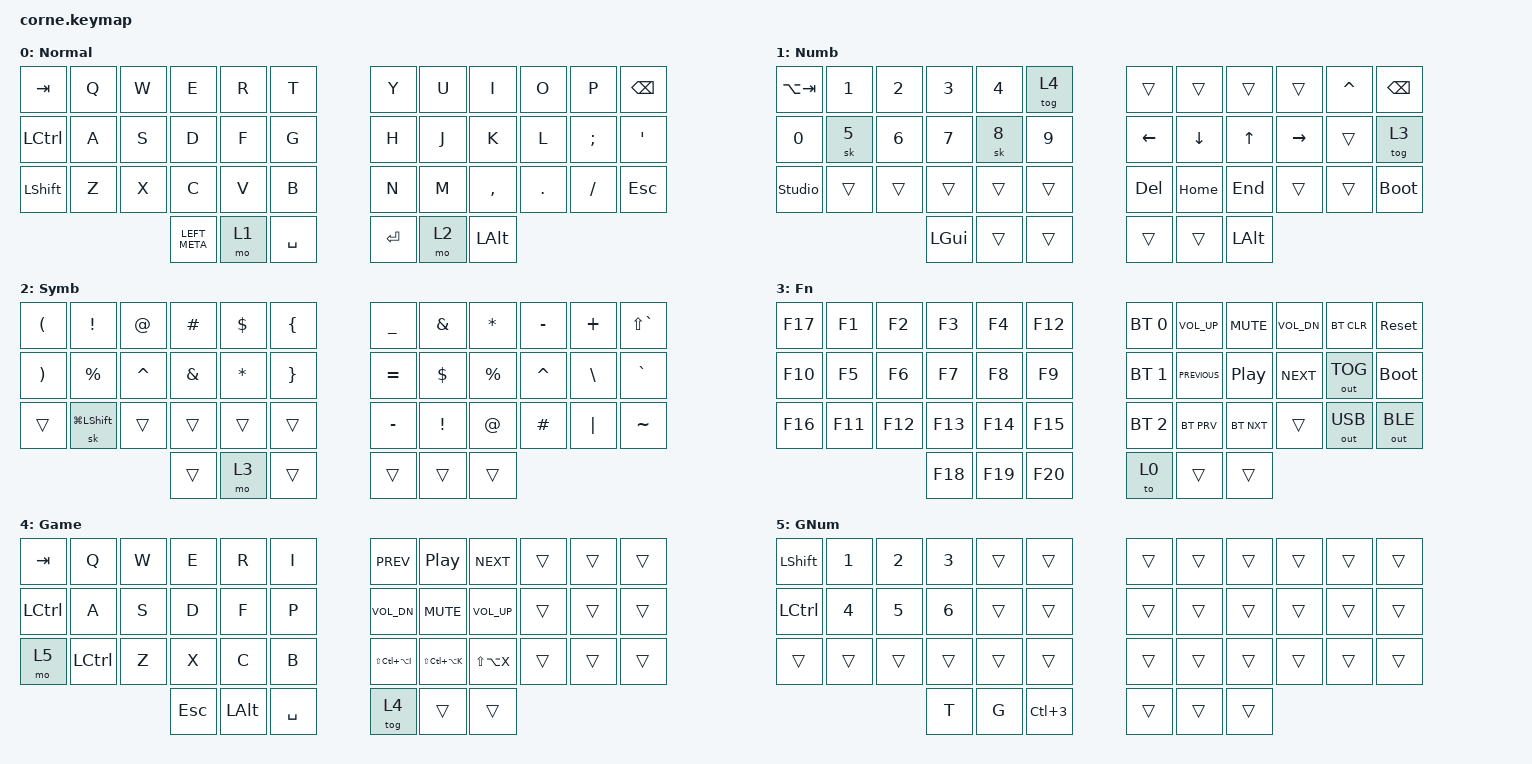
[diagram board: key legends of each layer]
/*
 * Copyright (c) 2020 The ZMK Contributors
 *
 * SPDX-License-Identifier: MIT
 */

#include <behaviors.dtsi>
#include <dt-bindings/zmk/bt.h>
#include <dt-bindings/zmk/keys.h>
#include <dt-bindings/zmk/outputs.h>

/ {
    combos {
        compatible = "zmk,combos";

        semcol {
            bindings = <&kp SEMI>;
            key-positions = <32 33>;
            timeout-ms = <50>;
            layers = <0>;
            require-prior-idle-ms = <150>;
        };

        cpslck {
            bindings = <&kp CAPSLOCK>;
            key-positions = <24 35>;
            layers = <0>;
            require-prior-idle-ms = <150>;
        };

        parentheses_left {
            bindings = <&kp LEFT_PARENTHESIS>;
            key-positions = <16 15>;
            layers = <0>;
            require-prior-idle-ms = <150>;
        };

        parentheses_right {
            bindings = <&kp RIGHT_PARENTHESIS>;
            key-positions = <19 20>;
            layers = <0>;
            require-prior-idle-ms = <150>;
        };

        bracket_left {
            bindings = <&kp LEFT_BRACKET>;
            key-positions = <3 4>;
            layers = <0>;
            require-prior-idle-ms = <150>;
        };

        bracket_right {
            bindings = <&kp RIGHT_BRACKET>;
            key-positions = <8 7>;
            layers = <0>;
            require-prior-idle-ms = <150>;
        };

        colon {
            bindings = <&kp COLON>;
            key-positions = <20 21>;
            layers = <0>;
            require-prior-idle-ms = <150>;
        };

        grave {
            bindings = <&kp GRAVE>;
            key-positions = <15 14>;
            layers = <0>;
            require-prior-idle-ms = <150>;
        };

        brace_left {
            bindings = <&kp LEFT_BRACE>;
            key-positions = <27 28>;
            layers = <0>;
            require-prior-idle-ms = <150>;
        };

        brace_right {
            bindings = <&kp RIGHT_BRACE>;
            key-positions = <31 32>;
            layers = <0>;
            require-prior-idle-ms = <150>;
        };

        less_than {
            bindings = <&kp LESS_THAN>;
            key-positions = <2 3>;
            layers = <0>;
            require-prior-idle-ms = <150>;
        };

        bigger_than {
            bindings = <&kp GREATER_THAN>;
            key-positions = <8 9>;
            layers = <0>;
            require-prior-idle-ms = <150>;
        };

        hyphen {
            bindings = <&kp MINUS>;
            key-positions = <28 31>;
            layers = <0>;
            require-prior-idle-ms = <150>;
        };

        plus {
            bindings = <&kp PLUS>;
            key-positions = <4 7>;
            layers = <0>;
            require-prior-idle-ms = <150>;
        };

        equal {
            bindings = <&kp EQUAL>;
            key-positions = <16 19>;
            layers = <0>;
            require-prior-idle-ms = <150>;
        };

        pipe {
            bindings = <&kp PIPE>;
            key-positions = <27 26>;
            layers = <0>;
            require-prior-idle-ms = <150>;
        };

        astrsk {
            bindings = <&kp ASTERISK>;
            key-positions = <3 8>;
            layers = <0>;
            require-prior-idle-ms = <150>;
        };

        dollar {
            bindings = <&kp DOLLAR>;
            key-positions = <15 20>;
            layers = <0>;
            require-prior-idle-ms = <150>;
        };

        excl {
            bindings = <&kp EXCL>;
            key-positions = <27 32>;
            layers = <0>;
            require-prior-idle-ms = <150>;
        };

        ampersand {
            bindings = <&kp AMPERSAND>;
            key-positions = <17 18>;
            layers = <0>;
            require-prior-idle-ms = <150>;
        };

        underscore {
            bindings = <&kp UNDERSCORE>;
            key-positions = <29 30>;
            layers = <0>;
            require-prior-idle-ms = <150>;
        };

        backslash {
            bindings = <&kp BACKSLASH>;
            key-positions = <21 22>;
            layers = <0>;
            require-prior-idle-ms = <150>;
        };

        tilde {
            bindings = <&kp TILDE>;
            key-positions = <18 19>;
            layers = <0>;
            require-prior-idle-ms = <150>;
        };

        caret {
            bindings = <&kp CARET>;
            key-positions = <6 7>;
            layers = <0>;
            require-prior-idle-ms = <150>;
        };

        dash {
            bindings = <&kp MINUS>;
            key-positions = <30 31>;
            layers = <0>;
            require-prior-idle-ms = <150>;
        };

        question_mark {
            bindings = <&kp QUESTION>;
            key-positions = <21 22>;
            layers = <0>;
            require-prior-idle-ms = <150>;
        };
    };

    behaviors {
        hml: hml {
            compatible = "zmk,behavior-hold-tap";
            label = "HML";
            bindings = <&kp>, <&kp>;

            #binding-cells = <2>;
            tapping-term-ms = <280>;
            quick-tap-ms = <175>;
            flavor = "balanced";
            hold-trigger-on-release;
            hold-trigger-key-positions = <6 7 8 9 10 11 18 19 20 21 22 23 30 31 32 33 34 35 38 39 40 41 37 36>;
            require-prior-idle-ms = <150>;
        };

        hmr: hmr {
            compatible = "zmk,behavior-hold-tap";
            label = "HMR";
            bindings = <&kp>, <&kp>;

            #binding-cells = <2>;
            tapping-term-ms = <280>;
            quick-tap-ms = <175>;
            hold-trigger-on-release;
            hold-trigger-key-positions = <0 1 2 3 4 5 12 13 14 15 16 17 24 25 26 27 28 29 36 37 38 39 40 41>;
            flavor = "balanced";
            require-prior-idle-ms = <150>;
        };

        lrt: lrt {
            compatible = "zmk,behavior-hold-tap";
            label = "LRT";
            bindings = <&mo>, <&kp>;

            #binding-cells = <2>;
            tapping-term-ms = <150>;
            flavor = "tap-preferred";
        };
    };

    keymap {
        compatible = "zmk,keymap";

        Normal {
            // -----------------------------------------------------------------------------------------
            // |  TAB |  Q  |  W  |  E  |  R  |  T  |   |  Y  |  U   |  I  |  O  |  P  | BSPC |
            // | CTRL |  A  |  S  |  D  |  F  |  G  |   |  H  |  J   |  K  |  L  |  ;  |  '   |
            // | SHFT |  Z  |  X  |  C  |  V  |  B  |   |  N  |  M   |  ,  |  .  |  /  | ESC  |
            //                    | GUI | LWR | SPC |   | ENT | RSE  | ALT |

            bindings = <
&kp TAB         &kp Q  &kp W  &kp E          &kp R  &kp T        &kp Y      &kp U  &kp I         &kp O    &kp P     &kp BSPC
&kp LCTRL       &kp A  &kp S  &kp D          &kp F  &kp G        &kp H      &kp J  &kp K         &kp L    &kp SEMI  &kp SQT
&kp LEFT_SHIFT  &kp Z  &kp X  &kp C          &kp V  &kp B        &kp N      &kp M  &kp COMMA     &kp DOT  &kp FSLH  &kp ESCAPE
                              &kp LEFT_META  &mo 1  &kp SPACE    &kp ENTER  &mo 2  &kp LEFT_ALT
            >;

            label = "Normal";
        };

        Numbers {
            // -----------------------------------------------------------------------------------------
            // |  TAB |  1  |  2  |  3  |  4  |  5  |   |  6  |  7  |  8  |  9  |  0  | BSPC |
            // | BTCLR| BT1 | BT2 | BT3 | BT4 | BT5 |   | LFT | DWN |  UP | RGT |     |      |
            // | SHFT |     |     |     |     |     |   |     |     |     |     |     |      |
            //                    | GUI |     | SPC |   | ENT |     | ALT |

            bindings = <
&kp LA(TAB)     &kp NUMBER_1  &kp NUMBER_2  &kp NUMBER_3  &kp N4  &tog 4    &trans    &trans    &trans        &trans     &kp CARET  &kp BSPC
&kp N0          &sk N5        &kp NUMBER_6  &kp N7        &sk N8  &kp N9    &kp LEFT  &kp DOWN  &kp UP        &kp RIGHT  &trans     &tog 3
&studio_unlock  &trans        &trans        &trans        &trans  &trans    &kp DEL   &kp HOME  &kp END       &trans     &trans     &bootloader
                                            &kp LGUI      &trans  &trans    &trans    &trans    &kp LEFT_ALT
            >;

            label = "Numb";
        };

        Symbols {
            bindings = <
&kp LEFT_PARENTHESIS   &kp EXCL            &kp AT     &kp HASH       &kp DOLLAR  &kp LEFT_BRACE     &kp UNDERSCORE  &kp AMPS  &kp STAR   &kp MINUS  &kp PLUS       &kp LS(GRAVE)
&kp RIGHT_PARENTHESIS  &kp PERCENT         &kp CARET  &kp AMPERSAND  &kp ASTRK   &kp RIGHT_BRACE    &kp EQUAL       &kp DLLR  &kp PRCNT  &kp CARET  &kp BACKSLASH  &kp GRAVE
&trans                 &sk LG(LEFT_SHIFT)  &trans     &trans         &trans      &trans             &kp MINUS       &kp EXCL  &kp AT     &kp HASH   &kp PIPE       &kp TILDE
                                                      &trans         &mo 3       &trans             &trans          &trans    &trans
            >;

            label = "Symb";
        };

        Fn {
            bindings = <
&kp F17  &kp F1   &kp F2   &kp F3   &kp F4   &kp F12    &bt BT_SEL 0  &kp C_VOLUME_UP  &kp C_MUTE        &kp C_VOL_DN  &bt BT_CLR    &sys_reset
&kp F10  &kp F5   &kp F6   &kp F7   &kp F8   &kp F9     &bt BT_SEL 1  &kp C_PREVIOUS   &kp C_PLAY_PAUSE  &kp C_NEXT    &out OUT_TOG  &bootloader
&kp F16  &kp F11  &kp F12  &kp F13  &kp F14  &kp F15    &bt BT_SEL 2  &bt BT_PRV       &bt BT_NXT        &trans        &out OUT_USB  &out OUT_BLE
                           &kp F18  &kp F19  &kp F20    &to 0         &trans           &trans
            >;
        };

        Gaming {
            bindings = <
&kp TAB    &kp Q      &kp W  &kp E       &kp R         &kp I        &kp C_PREV         &kp C_PLAY_PAUSE   &kp K_NEXT       &trans  &trans  &trans
&kp LCTRL  &kp A      &kp S  &kp D       &kp F         &kp P        &kp C_VOL_DN       &kp K_MUTE         &kp C_VOLUME_UP  &trans  &trans  &trans
&mo 5      &kp LCTRL  &kp Z  &kp X       &kp C         &kp B        &kp LS(LC(LA(I)))  &kp LS(LC(LA(K)))  &kp LS(LA(X))    &trans  &trans  &trans
                             &kp ESCAPE  &kp LEFT_ALT  &kp SPACE    &tog 4             &trans             &trans
            >;

            label = "Game";
        };

        GamingNumbers {
            bindings = <
&kp LSHFT  &kp NUMBER_1  &kp NUMBER_2  &kp NUMBER_3  &trans  &trans              &trans  &trans  &trans  &trans  &trans  &trans
&kp LCTRL  &kp NUMBER_4  &kp N5        &kp NUMBER_6  &trans  &trans              &trans  &trans  &trans  &trans  &trans  &trans
&trans     &trans        &trans        &trans        &trans  &trans              &trans  &trans  &trans  &trans  &trans  &trans
                                       &kp T         &kp G   &kp LC(NUMBER_3)    &trans  &trans  &trans
            >;

            label = "GNum";
        };
    };

    conditional_layers {
        compatible = "zmk,conditional-layers";

        func_layer {
            if-layers = <1 2>;
            then-layer = <3>;
        };
    };
};
